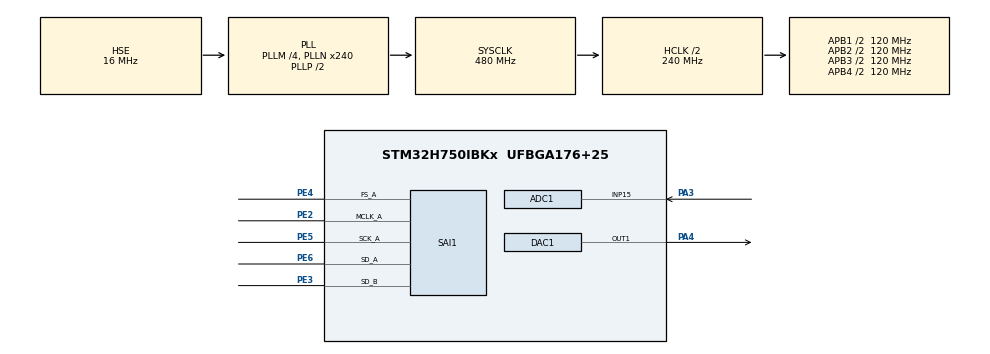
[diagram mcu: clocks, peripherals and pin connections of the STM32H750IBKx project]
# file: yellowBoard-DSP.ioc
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ADC1.Channel-0\#ChannelRegularConversion=ADC_CHANNEL_15
ADC1.ClockPrescaler=ADC_CLOCK_ASYNC_DIV2
ADC1.ContinuousConvMode=DISABLE
ADC1.ConversionDataManagement=ADC_CONVERSIONDATA_DMA_CIRCULAR
ADC1.EOCSelection=ADC_EOC_SEQ_CONV
ADC1.ExternalTrigConv=ADC_EXTERNALTRIG_T8_TRGO
ADC1.NbrOfConversionFlag=1
ADC1.OffsetNumber-0\#ChannelRegularConversion=ADC_OFFSET_NONE
ADC1.OffsetSignedSaturation-0\#ChannelRegularConversion=DISABLE
ADC1.Rank-0\#ChannelRegularConversion=1
ADC1.SamplingTime-0\#ChannelRegularConversion=ADC_SAMPLETIME_64CYCLES_5
ADC1.master=1
CORTEX_M7.default_mode_Activation=1
DAC1.DAC_Channel-DAC_OUT1=DAC_CHANNEL_1
DAC1.DAC_Trigger-DAC_OUT1=DAC_TRIGGER_T8_TRGO
Dma.ADC1.0.Direction=DMA_PERIPH_TO_MEMORY
Dma.ADC1.0.EventEnable=DISABLE
Dma.ADC1.0.FIFOMode=DMA_FIFOMODE_DISABLE
Dma.ADC1.0.Instance=DMA1_Stream0
Dma.ADC1.0.MemDataAlignment=DMA_MDATAALIGN_HALFWORD
Dma.ADC1.0.MemInc=DMA_MINC_ENABLE
Dma.ADC1.0.Mode=DMA_CIRCULAR
Dma.ADC1.0.PeriphDataAlignment=DMA_PDATAALIGN_HALFWORD
Dma.ADC1.0.PeriphInc=DMA_PINC_DISABLE
Dma.ADC1.0.Polarity=HAL_DMAMUX_REQ_GEN_RISING
Dma.ADC1.0.Priority=DMA_PRIORITY_LOW
Dma.ADC1.0.RequestNumber=1
Dma.ADC1.0.SignalID=NONE
Dma.ADC1.0.SyncEnable=DISABLE
Dma.ADC1.0.SyncPolarity=HAL_DMAMUX_SYNC_NO_EVENT
Dma.ADC1.0.SyncRequestNumber=1
Dma.ADC1.0.SyncSignalID=NONE
Dma.DAC1_CH1.1.Direction=DMA_MEMORY_TO_PERIPH
Dma.DAC1_CH1.1.EventEnable=DISABLE
Dma.DAC1_CH1.1.FIFOMode=DMA_FIFOMODE_DISABLE
Dma.DAC1_CH1.1.Instance=DMA1_Stream1
Dma.DAC1_CH1.1.MemDataAlignment=DMA_MDATAALIGN_BYTE
Dma.DAC1_CH1.1.MemInc=DMA_MINC_ENABLE
Dma.DAC1_CH1.1.Mode=DMA_CIRCULAR
Dma.DAC1_CH1.1.PeriphDataAlignment=DMA_PDATAALIGN_BYTE
Dma.DAC1_CH1.1.PeriphInc=DMA_PINC_DISABLE
Dma.DAC1_CH1.1.Polarity=HAL_DMAMUX_REQ_GEN_RISING
Dma.DAC1_CH1.1.Priority=DMA_PRIORITY_LOW
Dma.DAC1_CH1.1.RequestNumber=1
Dma.DAC1_CH1.1.SignalID=NONE
Dma.DAC1_CH1.1.SyncEnable=DISABLE
Dma.DAC1_CH1.1.SyncPolarity=HAL_DMAMUX_SYNC_NO_EVENT
Dma.DAC1_CH1.1.SyncRequestNumber=1
Dma.DAC1_CH1.1.SyncSignalID=NONE
Dma.Request0=ADC1
Dma.Request1=DAC1_CH1
Dma.Request2=SAI1_A
Dma.Request3=SAI1_B
Dma.SAI1_A.2.Direction=DMA_MEMORY_TO_PERIPH
Dma.SAI1_A.2.EventEnable=DISABLE
Dma.SAI1_A.2.FIFOMode=DMA_FIFOMODE_DISABLE
Dma.SAI1_A.2.Instance=DMA1_Stream2
Dma.SAI1_A.2.MemDataAlignment=DMA_MDATAALIGN_WORD
Dma.SAI1_A.2.MemInc=DMA_MINC_ENABLE
Dma.SAI1_A.2.Mode=DMA_CIRCULAR
Dma.SAI1_A.2.PeriphDataAlignment=DMA_PDATAALIGN_WORD
Dma.SAI1_A.2.PeriphInc=DMA_PINC_DISABLE
Dma.SAI1_A.2.Polarity=HAL_DMAMUX_REQ_GEN_RISING
Dma.SAI1_A.2.Priority=DMA_PRIORITY_HIGH
Dma.SAI1_A.2.RequestNumber=1
Dma.SAI1_A.2.SignalID=NONE
Dma.SAI1_A.2.SyncEnable=DISABLE
Dma.SAI1_A.2.SyncPolarity=HAL_DMAMUX_SYNC_NO_EVENT
Dma.SAI1_A.2.SyncRequestNumber=1
Dma.SAI1_A.2.SyncSignalID=NONE
Dma.SAI1_B.3.Direction=DMA_PERIPH_TO_MEMORY
Dma.SAI1_B.3.EventEnable=DISABLE
Dma.SAI1_B.3.FIFOMode=DMA_FIFOMODE_DISABLE
Dma.SAI1_B.3.Instance=DMA1_Stream3
Dma.SAI1_B.3.MemDataAlignment=DMA_MDATAALIGN_WORD
Dma.SAI1_B.3.MemInc=DMA_MINC_ENABLE
Dma.SAI1_B.3.Mode=DMA_CIRCULAR
Dma.SAI1_B.3.PeriphDataAlignment=DMA_PDATAALIGN_WORD
Dma.SAI1_B.3.PeriphInc=DMA_PINC_DISABLE
Dma.SAI1_B.3.Polarity=HAL_DMAMUX_REQ_GEN_RISING
Dma.SAI1_B.3.Priority=DMA_PRIORITY_HIGH
Dma.SAI1_B.3.RequestNumber=1
Dma.SAI1_B.3.SignalID=NONE
Dma.SAI1_B.3.SyncEnable=DISABLE
Dma.SAI1_B.3.SyncPolarity=HAL_DMAMUX_SYNC_NO_EVENT
Dma.SAI1_B.3.SyncRequestNumber=1
Dma.SAI1_B.3.SyncSignalID=NONE
Mcu.Family=STM32H7
Mcu.Name=STM32H750IBKx
Mcu.Package=UFBGA176+25
NVIC.ADC_IRQn=true\:0\:0\:false\:false\:true\:true\:true\:true
NVIC.DMA1_Stream0_IRQn=true\:0\:0\:false\:false\:true\:false\:true\:true
NVIC.DMA1_Stream1_IRQn=true\:0\:0\:false\:false\:true\:false\:true\:true
NVIC.DMA1_Stream2_IRQn=true\:0\:0\:false\:false\:true\:false\:true\:true
NVIC.DMA1_Stream3_IRQn=true\:0\:0\:false\:false\:true\:false\:true\:true
NVIC.PriorityGroup=NVIC_PRIORITYGROUP_4
PA13\ (JTMS/SWDIO).Mode=JTAG_4_pins
PA13\ (JTMS/SWDIO).Signal=DEBUG_JTMS-SWDIO
PA14\ (JTCK/SWCLK).Mode=JTAG_4_pins
PA14\ (JTCK/SWCLK).Signal=DEBUG_JTCK-SWCLK
PA15\ (JTDI).Mode=JTAG_4_pins
PA15\ (JTDI).Signal=DEBUG_JTDI
PA3.Signal=ADCx_INP15
PA4.Signal=COMP_DAC11_group
PB3\ (JTDO/TRACESWO).Mode=JTAG_4_pins
PB3\ (JTDO/TRACESWO).Signal=DEBUG_JTDO-SWO
PE2.GPIO_Speed=GPIO_SPEED_FREQ_VERY_HIGH
PE2.Mode=SAI_A_MasterWithClock
PE2.Signal=SAI1_MCLK_A
PE3.GPIO_Speed=GPIO_SPEED_FREQ_VERY_HIGH
PE3.Mode=SAI_B_SyncSlave
PE3.Signal=SAI1_SD_B
PE4.GPIO_Speed=GPIO_SPEED_FREQ_VERY_HIGH
PE4.Mode=SAI_A_MasterWithClock
PE4.Signal=SAI1_FS_A
PE5.GPIO_Speed=GPIO_SPEED_FREQ_VERY_HIGH
PE5.Mode=SAI_A_MasterWithClock
PE5.Signal=SAI1_SCK_A
PE6.GPIO_Speed=GPIO_SPEED_FREQ_VERY_HIGH
PE6.Mode=SAI_A_MasterWithClock
PE6.Signal=SAI1_SD_A
PH0-OSC_IN\ (PH0).Mode=HSE-External-Oscillator
PH0-OSC_IN\ (PH0).Signal=RCC_OSC_IN
PH1-OSC_OUT\ (PH1).Mode=HSE-External-Oscillator
PH1-OSC_OUT\ (PH1).Signal=RCC_OSC_OUT
ProjectManager.HeapSize=0x200
ProjectManager.StackSize=0x400
ProjectManager.TargetToolchain=STM32CubeIDE
RCC.ADCFreq_Value=12288026.75189394
RCC.APB1Freq_Value=120000000
RCC.APB2Freq_Value=120000000
RCC.APB3Freq_Value=120000000
RCC.APB4Freq_Value=120000000
RCC.CortexFreq_Value=480000000
RCC.D1PPRE=RCC_APB3_DIV2
RCC.D2PPRE1=RCC_APB1_DIV2
RCC.D2PPRE2=RCC_APB2_DIV2
RCC.D3PPRE=RCC_APB4_DIV2
RCC.DIVM1=4
RCC.DIVM2=1
RCC.DIVN1=240
RCC.DIVN2=50
RCC.DIVP2=66
RCC.DIVQ1=6
RCC.DIVR1=8
RCC.HCLKFreq_Value=240000000
RCC.HPRE=RCC_HCLK_DIV2
RCC.HSE_VALUE=16000000
RCC.PLL2FRACN=5637
RCC.PLL3FRACN=0
RCC.PLLFRACN=0
RCC.PLLSourceVirtual=RCC_PLLSOURCE_HSE
RCC.PWR_Regulator_Voltage_Scale=PWR_REGULATOR_VOLTAGE_SCALE0
RCC.SAI1CLockSelection=RCC_SAI1CLKSOURCE_PLL2
RCC.SYSCLKFreq_VALUE=480000000
RCC.SYSCLKSource=RCC_SYSCLKSOURCE_PLLCLK
RCC.USBFreq_Value=160000000
SAI1.AudioFrequency-SAI_A_MasterWithClock=SAI_AUDIO_FREQUENCY_48K
SAI1.BasicDataSize-SAI_A_MasterWithClock=SAI_PROTOCOL_DATASIZE_24BIT
SAI1.BasicDataSize-SAI_B_SyncSlave=SAI_PROTOCOL_DATASIZE_24BIT
SAI1.BasicProtocol-SAI_A_MasterWithClock=SAI_I2S_MSBJUSTIFIED
SAI1.BasicProtocol-SAI_B_SyncSlave=SAI_I2S_MSBJUSTIFIED
SAI1.ErrorAudioFreq-SAI_A_MasterWithClock=0.0 %
SAI1.InitProtocol-SAI_A_MasterWithClock=Enable
SAI1.InitProtocol-SAI_B_SyncSlave=Enable
SAI1.Instance-SAI_A_MasterWithClock=SAI$Index_Block_A
SAI1.Instance-SAI_B_SyncSlave=SAI$Index_Block_B
SAI1.MClockEnable-SAI_A_MasterWithClock=SAI_MASTERCLOCK_ENABLE
SAI1.RealAudioFreq-SAI_A_MasterWithClock=48.0 KHz
SAI1.VirtualMode-SAI_A_MasterWithClock=VM_MASTER
SAI1.VirtualMode-SAI_B_SyncSlave=VM_SLAVE
SAI1.VirtualProtocol-SAI_A_BASIC=VM_BASIC_PROTOCOL
SAI1.VirtualProtocol-SAI_B_BASIC=VM_BASIC_PROTOCOL
SH.ADCx_INP15.0=ADC1_INP15,IN15-Single-Ended
SH.COMP_DAC11_group.0=DAC1_OUT1,DAC_OUT1
TIM8.Period=100-1
TIM8.Prescaler=50-1
TIM8.TIM_MasterOutputTrigger=TIM_TRGO_UPDATE
VP_MEMORYMAP_VS_MEMORYMAP.Mode=CurAppReg
VP_SAI1_VP_$IpInstance_SAIA_SAI_BASIC.Mode=SAI_A_BASIC
VP_SAI1_VP_$IpInstance_SAIB_SAI_BASIC.Mode=SAI_B_BASIC
VP_TIM8_VS_ClockSourceINT.Mode=Internal
VP_TIM8_VS_ClockSourceITR.Mode=TriggerSource_ITR1
board=custom

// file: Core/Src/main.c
/* USER CODE BEGIN Header */
/**
  ******************************************************************************
  * @file           : main.c
  * @brief          : Main program body
  ******************************************************************************
  * @attention
  *
  * Copyright (c) 2025 STMicroelectronics.
  * All rights reserved.
  *
  * This software is licensed under terms that can be found in the LICENSE file
  * in the root directory of this software component.
  * If no LICENSE file comes with this software, it is provided AS-IS.
  *
  ******************************************************************************
  */
/* USER CODE END Header */
#include "main.h"

/* USER CODE BEGIN Includes */

#include "_MULTI_FX.h"

/* USER CODE END Includes */

ADC_HandleTypeDef hadc1;
DMA_HandleTypeDef hdma_adc1;

DAC_HandleTypeDef hdac1;
DMA_HandleTypeDef hdma_dac1_ch1;

SAI_HandleTypeDef hsai_BlockA1;
SAI_HandleTypeDef hsai_BlockB1;
DMA_HandleTypeDef hdma_sai1_a;
DMA_HandleTypeDef hdma_sai1_b;

TIM_HandleTypeDef htim8;

/* USER CODE BEGIN PV */

pipe apipe;

FX_HANDLER_t fx_handle_0,
			 fx_handle_1,
			 fx_handle_2;

FX_HANDLER_t *nodes[3];

void (*fx_init[])(FX_HANDLER_t *fx ) =
{
     fx_reverb_init,
     fx_cabinet_init,
     fx_supro_init
};

arm_rfft_fast_instance_f32 fft;

static 	 uint16_t  adcInput[BUFFER_SIZE  * 2];
static	 uint16_t  dacOutput[BUFFER_SIZE * 2];

/* USER CODE END PV */

void SystemClock_Config(void);
void PeriphCommonClock_Config(void);
static void MPU_Config(void);
static void MX_GPIO_Init(void);
static void MX_DMA_Init(void);
static void MX_ADC1_Init(void);
static void MX_DAC1_Init(void);
static void MX_TIM8_Init(void);
static void MX_SAI1_Init(void);

/* USER CODE BEGIN 0 */

void HAL_ADC_ConvHalfCpltCallback(ADC_HandleTypeDef *hadc)
{
    // DMA has written into adcInput[0…BUFFER_SIZE-1]
    SCB_InvalidateDCache_by_Addr((uint32_t*)adcInput,
                                 BUFFER_SIZE * sizeof(adcInput[0]));
    apipe.adcHalfComplete(&apipe, adcInput);
}

void HAL_ADC_ConvCpltCallback(ADC_HandleTypeDef *hadc)
{
    // DMA has written into adcInput[BUFFER_SIZE…2*BUFFER_SIZE-1]
    SCB_InvalidateDCache_by_Addr((uint32_t*)&adcInput[BUFFER_SIZE],
                                 BUFFER_SIZE * sizeof(adcInput[0]));
    apipe.adcComplete(&apipe, adcInput);
}

volatile unsigned long now = 0;

#include <stdlib.h>    // for rand(), srand()

/* USER CODE END 0 */

int main(void)
{

  /* MPU Configuration--------------------------------------------------------*/
  MPU_Config();

  /* MCU Configuration--------------------------------------------------------*/

  /* Reset of all peripherals, Initializes the Flash interface and the Systick. */
  HAL_Init();

  /* Configure the system clock */
  SystemClock_Config();

  /* Configure the peripherals common clocks */
  PeriphCommonClock_Config();

  /* Initialize all configured peripherals */
  MX_GPIO_Init();
  MX_DMA_Init();
  MX_ADC1_Init();
  MX_DAC1_Init();
  MX_TIM8_Init();
  MX_SAI1_Init();
  /* USER CODE BEGIN 2 */
  SCB_EnableDCache();
  SCB_EnableICache();

  dctm_pool_init();
  static_pool_init();

  arm_rfft_fast_init_f32(&fft, FFT_SIZE);

  HAL_ADCEx_Calibration_Start(&hadc1, ADC_CALIB_OFFSET, ADC_SINGLE_ENDED);

  HAL_ADC_Start_DMA(&hadc1, (uint32_t*)adcInput, BUFFER_SIZE*2);

  HAL_DAC_Start_DMA(&hdac1, DAC_CHANNEL_1, (uint32_t*)dacOutput, BUFFER_SIZE*2, DAC_ALIGN_12B_R);

  HAL_TIM_Base_Start(&htim8);

  nodes[0] = &fx_handle_0;
  nodes[1] = &fx_handle_1;
  nodes[2] = &fx_handle_2;

  srand(HAL_GetTick());  // seed the PRNG

  pipeInit(&apipe);

  //fx_reverb_init  ( &fx_handle_0 );
  //fx_cabinet_init ( &fx_handle_1 );
  //fx_supro_init   ( &fx_handle_2 );

  nodes[0]->type = FX_SUPRO;
  nodes[1]->type = FX_CABINET;
  nodes[2]->type = FX_REVERB;

  // function init for loop
  for (int i = 0 ; i< 3 ; ++i) { // i < MAX_NODES
		 fx_init[nodes[i]->type](nodes[i]);
  }

  /* USER CODE END 2 */

  /* Infinite loop */
  while (1)
  {

    /* USER CODE BEGIN 3 */
  if (apipe.bufferReady)
	  {
		 apipe.updateDelayBuffer(&apipe);
		 apipe.loadProcess(&apipe);

		 HAL_GPIO_WritePin(GPIOC, GPIO_PIN_3, GPIO_PIN_RESET);

		 for (int i = 0 ; i< 2 ; ++i) { // i < MAX_NODES
				nodes[i]->process(nodes[i], &apipe);
		 }

		 //fx_handle_2.process(&fx_handle_2, &apipe);
		 //fx_handle_1.process(&fx_handle_1, &apipe);
		 //fx_handle_0.process(&fx_handle_0, &apipe);

		 arm_scale_f32(apipe.processBuffer, 0.01, apipe.processBuffer, BUFFER_SIZE);
		 arm_copy_f32(apipe.processBuffer, apipe.outBuffer, BUFFER_SIZE);

		 apipe.updateDACOutput(&apipe, dacOutput);
		 SCB_CleanDCache_by_Addr((uint32_t*)dacOutput, BUFFER_SIZE*2 * sizeof(dacOutput[0]));

		 apipe.bufferReady = false;

		 volatile GPIO_PinState trig = HAL_GPIO_ReadPin(GPIOC, GPIO_PIN_3);

		 // on rising edge (HIGH && previously armed), do your clean
		 if (trig == GPIO_PIN_SET) {

			 //fx_supro_clean  (&fx_handle_2);
			 //fx_cabinet_clean(&fx_handle_1);
			 //fx_reverb_clean (&fx_handle_0);

			 //nodes[i]->clean(nodes[0])

			for (int i = 0 ; i< 3 ; ++i) { // i < MAX_NODES
				  nodes[i]->clean(nodes[i]);
			}

			 dctm_pool_init();
			 static_pool_init();

			 memset(apipe.processBuffer, 0,  BUFFER_SIZE *sizeof(apipe.processBuffer[0]));

			 volatile uint32_t idx1 = rand() % 3;
			 volatile uint32_t idx2 = rand() % 3;
			 volatile uint32_t idx3 = rand() % 3;

			 nodes[idx1]->type = FX_SUPRO;
			 nodes[idx2]->type = FX_CABINET;
			 //nodes[idx3]->type = FX_SUPRO;

			 // function init for loop
			for (int i = 0 ; i< 2 ; ++i) { // i < MAX_NODES
				 fx_init[nodes[i]->type](nodes[i]);
			}

		 }

	  }
	  else
	  {
		  __WFI();
	  }

	  }

  /* USER CODE END 3 */
}

void SystemClock_Config(void)
{
  RCC_OscInitTypeDef RCC_OscInitStruct = {0};
  RCC_ClkInitTypeDef RCC_ClkInitStruct = {0};

  /** Supply configuration update enable
  */
  HAL_PWREx_ConfigSupply(PWR_LDO_SUPPLY);

  /** Configure the main internal regulator output voltage
  */
  __HAL_PWR_VOLTAGESCALING_CONFIG(PWR_REGULATOR_VOLTAGE_SCALE0);

  while(!__HAL_PWR_GET_FLAG(PWR_FLAG_VOSRDY)) {}

  /** Initializes the RCC Oscillators according to the specified parameters
  * in the RCC_OscInitTypeDef structure.
  */
  RCC_OscInitStruct.OscillatorType = RCC_OSCILLATORTYPE_HSE;
  RCC_OscInitStruct.HSEState = RCC_HSE_ON;
  RCC_OscInitStruct.PLL.PLLState = RCC_PLL_ON;
  RCC_OscInitStruct.PLL.PLLSource = RCC_PLLSOURCE_HSE;
  RCC_OscInitStruct.PLL.PLLM = 4;
  RCC_OscInitStruct.PLL.PLLN = 240;
  RCC_OscInitStruct.PLL.PLLP = 2;
  RCC_OscInitStruct.PLL.PLLQ = 6;
  RCC_OscInitStruct.PLL.PLLR = 8;
  RCC_OscInitStruct.PLL.PLLRGE = RCC_PLL1VCIRANGE_2;
  RCC_OscInitStruct.PLL.PLLVCOSEL = RCC_PLL1VCOWIDE;
  RCC_OscInitStruct.PLL.PLLFRACN = 0;
  if (HAL_RCC_OscConfig(&RCC_OscInitStruct) != HAL_OK)
  {
    Error_Handler();
  }

  /** Initializes the CPU, AHB and APB buses clocks
  */
  RCC_ClkInitStruct.ClockType = RCC_CLOCKTYPE_HCLK|RCC_CLOCKTYPE_SYSCLK
                              |RCC_CLOCKTYPE_PCLK1|RCC_CLOCKTYPE_PCLK2
                              |RCC_CLOCKTYPE_D3PCLK1|RCC_CLOCKTYPE_D1PCLK1;
  RCC_ClkInitStruct.SYSCLKSource = RCC_SYSCLKSOURCE_PLLCLK;
  RCC_ClkInitStruct.SYSCLKDivider = RCC_SYSCLK_DIV1;
  RCC_ClkInitStruct.AHBCLKDivider = RCC_HCLK_DIV2;
  RCC_ClkInitStruct.APB3CLKDivider = RCC_APB3_DIV2;
  RCC_ClkInitStruct.APB1CLKDivider = RCC_APB1_DIV2;
  RCC_ClkInitStruct.APB2CLKDivider = RCC_APB2_DIV2;
  RCC_ClkInitStruct.APB4CLKDivider = RCC_APB4_DIV2;

  if (HAL_RCC_ClockConfig(&RCC_ClkInitStruct, FLASH_LATENCY_4) != HAL_OK)
  {
    Error_Handler();
  }
}

void PeriphCommonClock_Config(void)
{
  RCC_PeriphCLKInitTypeDef PeriphClkInitStruct = {0};

  /** Initializes the peripherals clock
  */
  PeriphClkInitStruct.PeriphClockSelection = RCC_PERIPHCLK_ADC|RCC_PERIPHCLK_SAI1;
  PeriphClkInitStruct.PLL2.PLL2M = 1;
  PeriphClkInitStruct.PLL2.PLL2N = 50;
  PeriphClkInitStruct.PLL2.PLL2P = 66;
  PeriphClkInitStruct.PLL2.PLL2Q = 2;
  PeriphClkInitStruct.PLL2.PLL2R = 2;
  PeriphClkInitStruct.PLL2.PLL2RGE = RCC_PLL2VCIRANGE_3;
  PeriphClkInitStruct.PLL2.PLL2VCOSEL = RCC_PLL2VCOWIDE;
  PeriphClkInitStruct.PLL2.PLL2FRACN = 5637;
  PeriphClkInitStruct.Sai1ClockSelection = RCC_SAI1CLKSOURCE_PLL2;
  PeriphClkInitStruct.AdcClockSelection = RCC_ADCCLKSOURCE_PLL2;
  if (HAL_RCCEx_PeriphCLKConfig(&PeriphClkInitStruct) != HAL_OK)
  {
    Error_Handler();
  }
}

static void MX_ADC1_Init(void)
{

  ADC_MultiModeTypeDef multimode = {0};
  ADC_ChannelConfTypeDef sConfig = {0};

  /** Common config
  */
  hadc1.Instance = ADC1;
  hadc1.Init.ClockPrescaler = ADC_CLOCK_ASYNC_DIV2;
  hadc1.Init.Resolution = ADC_RESOLUTION_16B;
  hadc1.Init.ScanConvMode = ADC_SCAN_DISABLE;
  hadc1.Init.EOCSelection = ADC_EOC_SEQ_CONV;
  hadc1.Init.LowPowerAutoWait = DISABLE;
  hadc1.Init.ContinuousConvMode = DISABLE;
  hadc1.Init.NbrOfConversion = 1;
  hadc1.Init.DiscontinuousConvMode = DISABLE;
  hadc1.Init.ExternalTrigConv = ADC_EXTERNALTRIG_T8_TRGO;
  hadc1.Init.ExternalTrigConvEdge = ADC_EXTERNALTRIGCONVEDGE_RISING;
  hadc1.Init.ConversionDataManagement = ADC_CONVERSIONDATA_DMA_CIRCULAR;
  hadc1.Init.Overrun = ADC_OVR_DATA_PRESERVED;
  hadc1.Init.LeftBitShift = ADC_LEFTBITSHIFT_NONE;
  hadc1.Init.OversamplingMode = DISABLE;
  hadc1.Init.Oversampling.Ratio = 1;
  if (HAL_ADC_Init(&hadc1) != HAL_OK)
  {
    Error_Handler();
  }

  /** Configure the ADC multi-mode
  */
  multimode.Mode = ADC_MODE_INDEPENDENT;
  if (HAL_ADCEx_MultiModeConfigChannel(&hadc1, &multimode) != HAL_OK)
  {
    Error_Handler();
  }

  /** Configure Regular Channel
  */
  sConfig.Channel = ADC_CHANNEL_15;
  sConfig.Rank = ADC_REGULAR_RANK_1;
  sConfig.SamplingTime = ADC_SAMPLETIME_64CYCLES_5;
  sConfig.SingleDiff = ADC_SINGLE_ENDED;
  sConfig.OffsetNumber = ADC_OFFSET_NONE;
  sConfig.Offset = 0;
  sConfig.OffsetSignedSaturation = DISABLE;
  if (HAL_ADC_ConfigChannel(&hadc1, &sConfig) != HAL_OK)
  {
    Error_Handler();
  }

}

static void MX_DAC1_Init(void)
{

  DAC_ChannelConfTypeDef sConfig = {0};

  /** DAC Initialization
  */
  hdac1.Instance = DAC1;
  if (HAL_DAC_Init(&hdac1) != HAL_OK)
  {
    Error_Handler();
  }

  /** DAC channel OUT1 config
  */
  sConfig.DAC_SampleAndHold = DAC_SAMPLEANDHOLD_DISABLE;
  sConfig.DAC_Trigger = DAC_TRIGGER_T8_TRGO;
  sConfig.DAC_OutputBuffer = DAC_OUTPUTBUFFER_ENABLE;
  sConfig.DAC_ConnectOnChipPeripheral = DAC_CHIPCONNECT_DISABLE;
  sConfig.DAC_UserTrimming = DAC_TRIMMING_FACTORY;
  if (HAL_DAC_ConfigChannel(&hdac1, &sConfig, DAC_CHANNEL_1) != HAL_OK)
  {
    Error_Handler();
  }

}

static void MX_SAI1_Init(void)
{

  hsai_BlockA1.Instance = SAI1_Block_A;
  hsai_BlockA1.Init.AudioMode = SAI_MODEMASTER_TX;
  hsai_BlockA1.Init.Synchro = SAI_ASYNCHRONOUS;
  hsai_BlockA1.Init.OutputDrive = SAI_OUTPUTDRIVE_DISABLE;
  hsai_BlockA1.Init.NoDivider = SAI_MCK_OVERSAMPLING_DISABLE;
  hsai_BlockA1.Init.MckOverSampling = SAI_MCK_OVERSAMPLING_DISABLE;
  hsai_BlockA1.Init.FIFOThreshold = SAI_FIFOTHRESHOLD_EMPTY;
  hsai_BlockA1.Init.AudioFrequency = SAI_AUDIO_FREQUENCY_48K;
  hsai_BlockA1.Init.SynchroExt = SAI_SYNCEXT_DISABLE;
  hsai_BlockA1.Init.MonoStereoMode = SAI_STEREOMODE;
  hsai_BlockA1.Init.CompandingMode = SAI_NOCOMPANDING;
  hsai_BlockA1.Init.TriState = SAI_OUTPUT_NOTRELEASED;
  if (HAL_SAI_InitProtocol(&hsai_BlockA1, SAI_I2S_MSBJUSTIFIED, SAI_PROTOCOL_DATASIZE_24BIT, 2) != HAL_OK)
  {
    Error_Handler();
  }
  hsai_BlockB1.Instance = SAI1_Block_B;
  hsai_BlockB1.Init.AudioMode = SAI_MODESLAVE_RX;
  hsai_BlockB1.Init.Synchro = SAI_SYNCHRONOUS;
  hsai_BlockB1.Init.OutputDrive = SAI_OUTPUTDRIVE_DISABLE;
  hsai_BlockB1.Init.MckOverSampling = SAI_MCK_OVERSAMPLING_DISABLE;
  hsai_BlockB1.Init.FIFOThreshold = SAI_FIFOTHRESHOLD_EMPTY;
  hsai_BlockB1.Init.SynchroExt = SAI_SYNCEXT_DISABLE;
  hsai_BlockB1.Init.MonoStereoMode = SAI_STEREOMODE;
  hsai_BlockB1.Init.CompandingMode = SAI_NOCOMPANDING;
  hsai_BlockB1.Init.TriState = SAI_OUTPUT_NOTRELEASED;
  if (HAL_SAI_InitProtocol(&hsai_BlockB1, SAI_I2S_MSBJUSTIFIED, SAI_PROTOCOL_DATASIZE_24BIT, 2) != HAL_OK)
  {
    Error_Handler();
  }

}

static void MX_TIM8_Init(void)
{

  TIM_ClockConfigTypeDef sClockSourceConfig = {0};
  TIM_SlaveConfigTypeDef sSlaveConfig = {0};
  TIM_MasterConfigTypeDef sMasterConfig = {0};

  htim8.Instance = TIM8;
  htim8.Init.Prescaler = 50-1;
  htim8.Init.CounterMode = TIM_COUNTERMODE_UP;
  htim8.Init.Period = 100-1;
  htim8.Init.ClockDivision = TIM_CLOCKDIVISION_DIV1;
  htim8.Init.RepetitionCounter = 0;
  htim8.Init.AutoReloadPreload = TIM_AUTORELOAD_PRELOAD_DISABLE;
  if (HAL_TIM_Base_Init(&htim8) != HAL_OK)
  {
    Error_Handler();
  }
  sClockSourceConfig.ClockSource = TIM_CLOCKSOURCE_INTERNAL;
  if (HAL_TIM_ConfigClockSource(&htim8, &sClockSourceConfig) != HAL_OK)
  {
    Error_Handler();
  }
  sSlaveConfig.SlaveMode = TIM_SLAVEMODE_DISABLE;
  sSlaveConfig.InputTrigger = TIM_TS_ITR1;
  if (HAL_TIM_SlaveConfigSynchro(&htim8, &sSlaveConfig) != HAL_OK)
  {
    Error_Handler();
  }
  sMasterConfig.MasterOutputTrigger = TIM_TRGO_UPDATE;
  sMasterConfig.MasterOutputTrigger2 = TIM_TRGO2_RESET;
  sMasterConfig.MasterSlaveMode = TIM_MASTERSLAVEMODE_DISABLE;
  if (HAL_TIMEx_MasterConfigSynchronization(&htim8, &sMasterConfig) != HAL_OK)
  {
    Error_Handler();
  }

}

static void MX_DMA_Init(void)
{

  /* DMA controller clock enable */
  __HAL_RCC_DMA1_CLK_ENABLE();

  /* DMA interrupt init */
  /* DMA1_Stream0_IRQn interrupt configuration */
  HAL_NVIC_SetPriority(DMA1_Stream0_IRQn, 0, 0);
  HAL_NVIC_EnableIRQ(DMA1_Stream0_IRQn);
  /* DMA1_Stream1_IRQn interrupt configuration */
  HAL_NVIC_SetPriority(DMA1_Stream1_IRQn, 0, 0);
  HAL_NVIC_EnableIRQ(DMA1_Stream1_IRQn);
  /* DMA1_Stream2_IRQn interrupt configuration */
  HAL_NVIC_SetPriority(DMA1_Stream2_IRQn, 0, 0);
  HAL_NVIC_EnableIRQ(DMA1_Stream2_IRQn);
  /* DMA1_Stream3_IRQn interrupt configuration */
  HAL_NVIC_SetPriority(DMA1_Stream3_IRQn, 0, 0);
  HAL_NVIC_EnableIRQ(DMA1_Stream3_IRQn);

}

static void MX_GPIO_Init(void)
{

  /* GPIO Ports Clock Enable */
  __HAL_RCC_GPIOE_CLK_ENABLE();
  __HAL_RCC_GPIOB_CLK_ENABLE();
  __HAL_RCC_GPIOA_CLK_ENABLE();
  __HAL_RCC_GPIOH_CLK_ENABLE();

}

 /* MPU Configuration */

void MPU_Config(void)
{
  MPU_Region_InitTypeDef MPU_InitStruct = {0};

  /* Disables the MPU */
  HAL_MPU_Disable();

  /** Initializes and configures the Region and the memory to be protected
  */
  MPU_InitStruct.Enable = MPU_REGION_ENABLE;
  MPU_InitStruct.Number = MPU_REGION_NUMBER0;
  MPU_InitStruct.BaseAddress = 0x0;
  MPU_InitStruct.Size = MPU_REGION_SIZE_4GB;
  MPU_InitStruct.SubRegionDisable = 0x87;
  MPU_InitStruct.TypeExtField = MPU_TEX_LEVEL0;
  MPU_InitStruct.AccessPermission = MPU_REGION_NO_ACCESS;
  MPU_InitStruct.DisableExec = MPU_INSTRUCTION_ACCESS_DISABLE;
  MPU_InitStruct.IsShareable = MPU_ACCESS_SHAREABLE;
  MPU_InitStruct.IsCacheable = MPU_ACCESS_NOT_CACHEABLE;
  MPU_InitStruct.IsBufferable = MPU_ACCESS_NOT_BUFFERABLE;

  HAL_MPU_ConfigRegion(&MPU_InitStruct);
  /* Enables the MPU */
  HAL_MPU_Enable(MPU_PRIVILEGED_DEFAULT);

}

void Error_Handler(void)
{
  __disable_irq();
  while (1)
  {
  }
}
